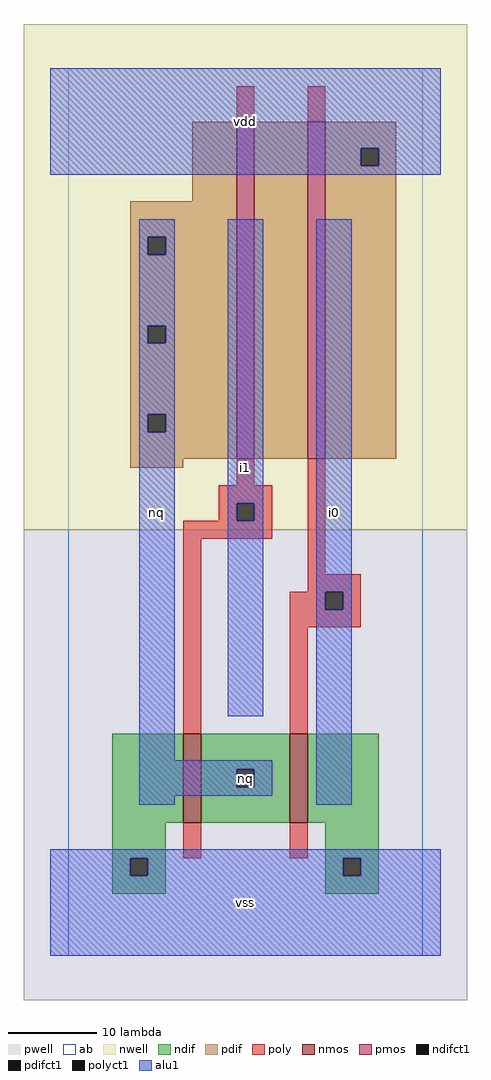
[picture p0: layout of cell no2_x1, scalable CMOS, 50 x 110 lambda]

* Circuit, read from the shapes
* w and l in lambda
.subckt no2_x1 i0 i1 nq vdd vss
M1 nq i1 vss VSUBS nfet w=10 l=2
M2 vss i0 nq VSUBS nfet w=10 l=2
M3 n1 i1 nq n2 pfet w=38 l=2
M4 vdd i0 n1 n2 pfet w=38 l=2
.ends

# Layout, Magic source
magic
tech scmos
<< ab >>
rect 0 0 40 100
<< nwell >>
rect -5 48 45 105
<< pwell >>
rect -5 -5 45 48
<< poly >>
rect 19 94 21 98
rect 27 94 29 98
rect 19 53 21 56
rect 17 51 23 53
rect 17 49 19 51
rect 21 49 23 51
rect 13 47 23 49
rect 13 25 15 47
rect 27 43 29 56
rect 27 41 33 43
rect 25 39 29 41
rect 31 39 33 41
rect 25 37 33 39
rect 25 25 27 37
rect 13 11 15 15
rect 25 11 27 15
<< ndif >>
rect 5 15 13 25
rect 15 21 25 25
rect 15 19 19 21
rect 21 19 25 21
rect 15 15 25 19
rect 27 15 35 25
rect 5 11 11 15
rect 29 11 35 15
rect 5 9 7 11
rect 9 9 11 11
rect 5 7 11 9
rect 29 9 31 11
rect 33 9 35 11
rect 29 7 35 9
<< pdif >>
rect 14 85 19 94
rect 7 81 19 85
rect 7 79 9 81
rect 11 79 19 81
rect 7 71 19 79
rect 7 69 9 71
rect 11 69 19 71
rect 7 61 19 69
rect 7 59 9 61
rect 11 59 19 61
rect 7 56 19 59
rect 21 56 27 94
rect 29 91 37 94
rect 29 89 33 91
rect 35 89 37 91
rect 29 56 37 89
rect 7 55 13 56
<< alu1 >>
rect -2 91 42 100
rect -2 89 33 91
rect 35 89 42 91
rect -2 88 42 89
rect 8 81 12 83
rect 8 79 9 81
rect 11 79 12 81
rect 8 71 12 79
rect 8 69 9 71
rect 11 69 12 71
rect 8 61 12 69
rect 8 59 9 61
rect 11 59 12 61
rect 8 22 12 59
rect 18 51 22 83
rect 18 49 19 51
rect 21 49 22 51
rect 18 27 22 49
rect 28 41 32 83
rect 28 39 29 41
rect 31 39 32 41
rect 8 21 23 22
rect 8 19 19 21
rect 21 19 23 21
rect 8 18 23 19
rect 8 17 12 18
rect 28 17 32 39
rect -2 11 42 12
rect -2 9 7 11
rect 9 9 31 11
rect 33 9 42 11
rect -2 0 42 9
<< nmos >>
rect 13 15 15 25
rect 25 15 27 25
<< pmos >>
rect 19 56 21 94
rect 27 56 29 94
<< polyct1 >>
rect 19 49 21 51
rect 29 39 31 41
<< ndifct1 >>
rect 19 19 21 21
rect 7 9 9 11
rect 31 9 33 11
<< pdifct1 >>
rect 9 79 11 81
rect 9 69 11 71
rect 9 59 11 61
rect 33 89 35 91
<< labels >>
rlabel alu1 20 6 20 6 6 vss
rlabel ndifct1 20 20 20 20 6 nq
rlabel alu1 10 50 10 50 6 nq
rlabel alu1 20 55 20 55 6 i1
rlabel alu1 20 94 20 94 6 vdd
rlabel alu1 30 50 30 50 6 i0
<< end >>
